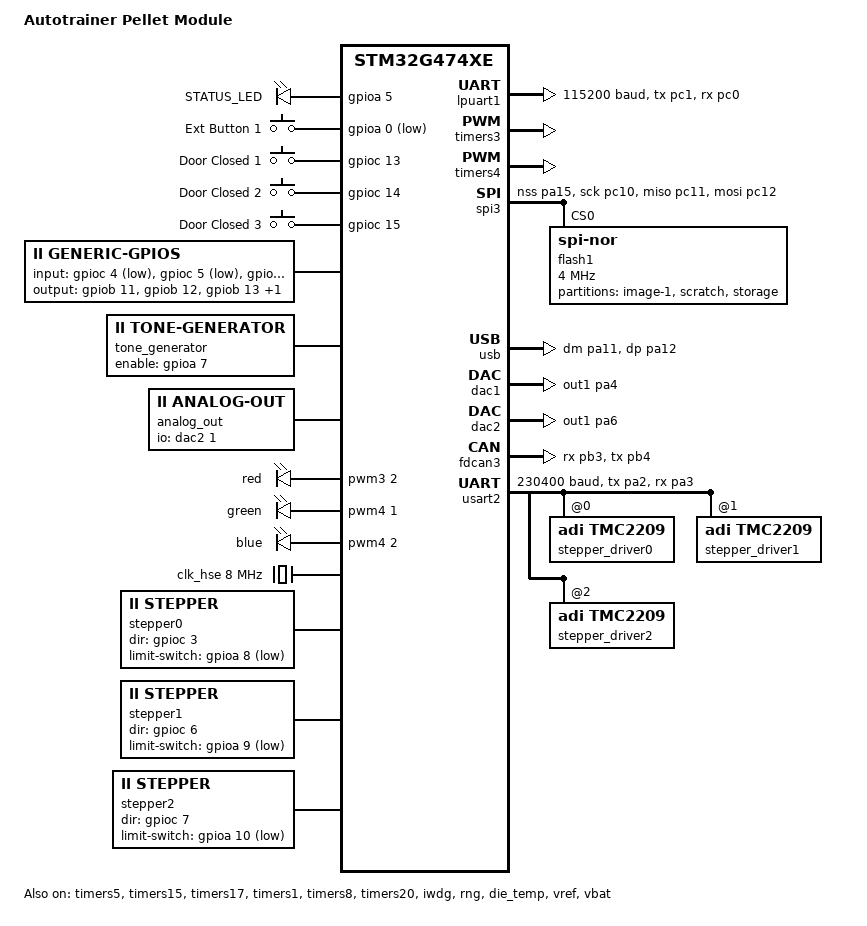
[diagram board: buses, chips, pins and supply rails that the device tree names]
/dts-v1/;
#include <st/g4/stm32g474Xe.dtsi>
#include <st/g4/stm32g474r(b-c-e)tx-pinctrl.dtsi>
#include <zephyr/dt-bindings/input/input-event-codes.h>

/ {
	model = "Autotrainer Pellet Module";
	compatible = "cerebellumlab,pellet-module";

	chosen {
		zephyr,console = &lpuart1;
		zephyr,shell-uart = &cdc_acm_uart0;
		zephyr,sram = &sram0;
		zephyr,flash = &flash0;
		zephyr,canbus = &fdcan3;
		zephyr,code-partition = &slot0_partition;
	};

	leds {
		compatible = "gpio-leds";
		status = "okay";

		status_led: led_1 {
			gpios = <&gpioa 5 GPIO_ACTIVE_HIGH>;
			label = "STATUS_LED";
			status = "okay";
		};
	};

	gpio_keys {
		compatible = "gpio-keys";

		ext_button_1: ext_button_1 {
			label = "Ext Button 1";
			gpios = <&gpioa 0 GPIO_ACTIVE_LOW>;
			zephyr,code = <INPUT_KEY_0>;
		};

		door_sensor_1: door_sensor_1 {
			label = "Door Closed 1";
			gpios = <&gpioc 13 (GPIO_PULL_DOWN | GPIO_ACTIVE_HIGH)>;
			zephyr,code = <INPUT_KEY_5>;
			status = "okay";
		};

		door_sensor_2: door_sensor_2 {
			label = "Door Closed 2";
			gpios = <&gpioc 14 (GPIO_PULL_DOWN | GPIO_ACTIVE_HIGH)>;
			zephyr,code = <INPUT_KEY_6>;
			status = "okay";
		};

		door_sensor_3: door_sensor_3 {
			label = "Door Closed 3";
			gpios = <&gpioc 15 (GPIO_PULL_DOWN | GPIO_ACTIVE_HIGH)>;
			zephyr,code = <INPUT_KEY_7>;
			status = "okay";
		};
	};

	generic-gpios {
		status = "okay";
		compatible = "ll,generic-gpios";
		input-gpios = <&gpioc 4 GPIO_ACTIVE_LOW>,  // CAN_ID[0] / NodeNumber[0]
					  <&gpioc 5 GPIO_ACTIVE_LOW>,  // CAN_ID[1] / NodeNumber[1]
					  <&gpiob 0 GPIO_ACTIVE_HIGH>, // CAN_ID[2] / DeviceType[0]
					  <&gpiob 1 GPIO_ACTIVE_HIGH>; // CAN_ID[3] / DeviceType[1]
		input-gpio-names = "CAN_ID[0]",
						   "CAN_ID[1]",
						   "CAN_ID[2]",
						   "CAN_ID[3]";
		input-gpio-interrupt-enable = "DISABLE", "DISABLE", "DISABLE", "DISABLE";
		output-gpios = <&gpiob 11 GPIO_ACTIVE_HIGH>, // STIM0
					   <&gpiob 12 GPIO_ACTIVE_HIGH>, // STIM1
					   <&gpiob 13 GPIO_ACTIVE_HIGH>, // STIM2
					   <&gpiob 14 GPIO_ACTIVE_HIGH>; // STIM3
		output-gpio-names = "STIM0",
						    "STIM1",
						    "STIM2",
						    "STIM3";
		output-gpio-interrupt-enable = "DISABLE", "DISABLE", "DISABLE", "DISABLE";
	};

	tone_generator {
		compatible = "ll,tone-generator";
		status = "okay";

		sample-rate-timer = <&timers2>;
		dac = <&dac1>;
		dac-channel = <1>;
		dmas = <&dmamux1 6 6 STM32_DMA_PRIORITY_HIGH>;
		dma-names = "tx";
		enable-gpios = <&gpioa 7 GPIO_ACTIVE_HIGH>;
	};

	analog_out: analog_out {
		compatible = "ll,analog-out";
		status = "okay";
		io-channels = <&dac2 1>;
		resolution = <12>;
	};

	rgb_led: rgb-led {
		compatible = "pwm-leds";
		status = "okay";

		red_pwm_led: red_pwm_led {
			pwms = <&pwm3 2 PWM_MSEC(10) PWM_POLARITY_NORMAL>;	// channel #, not entry # in the pwm list in pwm3
			label = "red";
		};
		
		green_pwm_led: green_pwm_led {
			pwms = <&pwm4 1 PWM_MSEC(10) PWM_POLARITY_NORMAL>;
			label = "green";
		};
		
		blue_pwm_led: blue_pwm_led {
			pwms = <&pwm4 2 PWM_MSEC(10) PWM_POLARITY_NORMAL>;
			label = "blue";
		};
	};

	aliases {
		led0 = &status_led;
		mcuboot-led0 = &status_led;
		watchdog0 = &iwdg;
	};
};

&clk_lsi {
	status = "okay";
};

&clk_hsi48 {
	status = "okay";
};

&clk_hse {
	clock-frequency = <DT_FREQ_M(8)>;
	status = "okay";
	hse-bypass;
};

&pll {
	div-m = <2>;
	mul-n = <85>;
	div-p = <2>;
	div-q = <2>;
	div-r = <2>;
	clocks = <&clk_hse>;
	status = "okay";
};

&rcc {
	clocks = <&pll>;
	clock-frequency = <DT_FREQ_M(170)>;
	ahb-prescaler = <1>;
	apb1-prescaler = <1>;
	apb2-prescaler = <1>;
};

&lpuart1 {
	pinctrl-0 = <&lpuart1_tx_pc1 &lpuart1_rx_pc0>;
	pinctrl-names = "default";
	current-speed = <115200>;
	status = "okay";
};

&dma1 {
	status = "okay";
};

&dmamux1 {
	status = "okay";
};

&timers3 {
	st,prescaler = <84>; // 170 MHz / (84 + 1) = 2 MHz
	status = "okay";

	pwm3: pwm {
		status = "okay";
		pinctrl-0 = <&tim3_ch2_pb5>;
		pinctrl-names = "default";
	};
};

&timers4 {
  st,prescaler = <84>; // 170 MHz / (84 + 1) = 2 MHz
  status = "okay";

  pwm4: pwm {
    status = "okay";
    pinctrl-0 = <&tim4_ch1_pb6  &tim4_ch2_pb7>;
    pinctrl-names = "default";
  };
};

&timers5 {
	status = "okay";
	st,prescaler = <84>; // 170 MHz / (84 + 1) = 2 MHz

	servo0: servo0 {
		compatible = "ll,servo";
		status = "okay";

		pinctrl-0 = <&tim5_ch2_pa1>;
		pinctrl-names = "default";

		pwm-channel = <2>;

		dmas = <&dmamux1 0 76 STM32_DMA_PRIORITY_MEDIUM>;
		dma-names = "tx";
	};
};

&timers15 {
	status = "okay";
	st,prescaler = <84>; // 170 MHz / (84 + 1) = 2 MHz

	servo1: servo1 {
		compatible = "ll,servo";
		status = "okay";

		pinctrl-0 = <&tim15_ch2_pb15>;
		pinctrl-names = "default";

		pwm-channel = <2>;

		dmas = <&dmamux1 1 79 STM32_DMA_PRIORITY_MEDIUM>;
		dma-names = "tx";
	};
};

&timers17 {
	status = "okay";
	st,prescaler = <84>; // 170 MHz / (84 + 1) = 2 MHz

	servo2: servo2 {
		compatible = "ll,servo";
		status = "okay";

		pinctrl-0 = <&tim17_ch1_pb9>;
		pinctrl-names = "default";

		pwm-channel = <1>;

		dmas = <&dmamux1 2 85 STM32_DMA_PRIORITY_MEDIUM>;
		dma-names = "tx";
	};
};

&timers1 {
	status = "okay";
	st,prescaler = <849>; // 170 MHz / (849 + 1) = 200 kHz

	stepper0: stepper0 {
		compatible = "ll,stepper";
		status = "okay";

		pinctrl-0 = <&tim1_ch3_pc2>;
		pinctrl-names = "default";

		// Direction Pin
		dir-gpios = <&gpioc 3 GPIO_ACTIVE_HIGH>;

		// PWM Channel to use
		pwm-channel = <3>;

		dmas = <&dmamux1 3 46 STM32_DMA_PRIORITY_MEDIUM>;
		dma-names = "tx";

		driver-dev = <&stepper_driver0>;
		limit-switch-gpios = <&gpioa 8 (GPIO_PULL_DOWN | GPIO_ACTIVE_LOW)>;
	};
};

&timers8 {
	status = "okay";
	st,prescaler = <849>; // 170 MHz / (849 + 1) = 200 kHz

	stepper1: stepper1 {
		compatible = "ll,stepper";
		status = "okay";

		pinctrl-0 = <&tim8_ch4_pc9>;
		pinctrl-names = "default";

		// Direction Pin
		dir-gpios = <&gpioc 6 GPIO_ACTIVE_HIGH>;

		// PWM Channel to use
		pwm-channel = <4>;

		dmas = <&dmamux1 4 53 STM32_DMA_PRIORITY_MEDIUM>;
		dma-names = "tx";

		driver-dev = <&stepper_driver1>;
		limit-switch-gpios = <&gpioa 9 (GPIO_PULL_DOWN | GPIO_ACTIVE_LOW)>;
	};
};

&timers20 {
	status = "okay";
	st,prescaler = <849>; // 170 MHz / (849 + 1) = 200 kHz

	stepper2: stepper2 {
		compatible = "ll,stepper";
		status = "okay";

		pinctrl-0 = <&tim20_ch3_pc8>;
		pinctrl-names = "default";

		// Direction Pin
		dir-gpios = <&gpioc 7 GPIO_ACTIVE_HIGH>;

		// PWM Channel to use
		pwm-channel = <3>;

		dmas = <&dmamux1 5 90 STM32_DMA_PRIORITY_MEDIUM>;
		dma-names = "tx";

		driver-dev = <&stepper_driver2>;
		limit-switch-gpios = <&gpioa 10 (GPIO_PULL_DOWN | GPIO_ACTIVE_LOW)>;
	};
};

&spi3 {
	pinctrl-0 = <&spi3_nss_pa15 &spi3_sck_pc10
				 &spi3_miso_pc11 &spi3_mosi_pc12>;
	pinctrl-names = "default";
	status = "okay";

	flash1: external_flash@0 {
		status = "okay";
		compatible = "jedec,spi-nor";
		reg = <0>;
		spi-max-frequency = <4000000>;
		size = <0x8000000>;
		has-dpd;
		t-enter-dpd = <3000>;
		t-exit-dpd = <30000>;
		jedec-id = [ef 40 15]; // For W25Q16JV

		partitions {
			compatible = "fixed-partitions";
			#address-cells = <1>;
			#size-cells = <1>;

			slot1_partition: partition@0 {
				label = "image-1";
				reg = <0x00000000 DT_SIZE_K(444)>;
			};

			scratch_partition: partition@80000 {
				label = "scratch";
				reg = <0x00080000 DT_SIZE_K(512)>;
			};

			/* Create 64Kb of storage for settings */
			storage_partition: partition@100000 {
				label = "storage";
				reg = <0x00100000 DT_SIZE_K(64)>;
			};
		};
	};
};

&flash0 {
	partitions {
		compatible = "fixed-partitions";
		#address-cells = <1>;
		#size-cells = <1>;

		boot_partition: partition@0 {
			label = "mcuboot";
			reg = <0x00000000 DT_SIZE_K(64)>;
		};

		slot0_partition: partition@10000 {
			label = "image-0";
			reg = <0x00010000 DT_SIZE_K(444)>;
		};

	};
};

&usb {
	pinctrl-0 = <&usb_dm_pa11 &usb_dp_pa12>;
	pinctrl-names = "default";
	status = "okay";

	cdc_acm_uart0: cdc_acm_uart0 {
		compatible = "zephyr,cdc-acm-uart";
		status = "okay";
	};
};

&iwdg {
	status = "okay";
};

&rng {
	status = "okay";
};

&dac1 {
	pinctrl-0 = <&dac1_out1_pa4>;
	pinctrl-names = "default";
	status = "okay";
};

&dac2 {
	pinctrl-0 = <&dac2_out1_pa6>;
	pinctrl-names = "default";
	status = "okay";
};

&die_temp {
	status = "okay";
};

&fdcan3 {
	clocks = <&rcc STM32_CLOCK_BUS_APB1 0x02000000>,
			 <&rcc STM32_SRC_PCLK FDCAN_SEL(1)>;
	pinctrl-0 = <&fdcan3_rx_pb3 &fdcan3_tx_pb4>;
	pinctrl-names = "default";
	status = "okay";
};

&vref {
	status = "okay";
};

&vbat {
	status = "okay";
};

&usart2 {
	current-speed = <230400>;
	/delete-property/ hw-flow-control;
	parity = "none";
	stop-bits = "1";
	data-bits = <8>;
	pinctrl-0 = <&usart2_tx_pa2 &usart2_rx_pa3>;
	pinctrl-names = "default";
	#size-cells = <0>;
	#address-cells = <1>;
	status = "okay";
	fifo-enable;

	stepper_driver0: stepper_driver0@0 {
		compatible = "adi,tmc2209";
		reg = <0x00>;
		status = "okay";
	};

	stepper_driver1: stepper_driver1@1 {
		compatible = "adi,tmc2209";
		reg = <0x01>;
		status = "okay";
	};

	stepper_driver2: stepper_driver2@2 {
		compatible = "adi,tmc2209";
		reg = <0x02>;
		status = "okay";
	};

	stepper_dummy: stepper_dummy@3 {
		// This is a dummy device, not connected on this board, for verifying
		// UART transactions via a logic analyzer if `status` is set
		// to `okay`.
		compatible = "adi,tmc2209";
		reg = <0x03>;
		status = "disabled";
	};
};

// Configure pull-downs for the stepper motor STEP pins
&tim20_ch3_pc8 {
	bias-pull-down;
};

&tim1_ch3_pc2 {
	bias-pull-down;
};

&tim8_ch4_pc9 {
	bias-pull-down;
};
